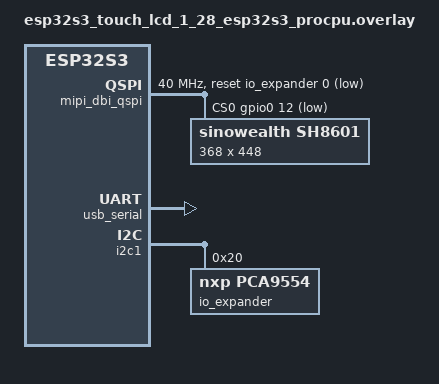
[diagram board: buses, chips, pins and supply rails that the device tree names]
/ {
	chosen {
		zephyr,console = &usb_serial;
		zephyr,shell-uart = &usb_serial;
		zephyr,display = &sh8601;
	};

	pwmleds {
		status = "disabled";
	};

	mipi_dbi {
		status = "disabled";
	};

	mipi_dbi_qspi: mipi-dbi-qspi@60024000 {
		compatible = "mipi-dbi-esp32-qspi";
		reg = <0x60024000 DT_SIZE_K(4)>;
		clocks = <&clock ESP32_SPI2_MODULE>;
		spi-host = <1>;
		sclk-pin = <11>;
		sio-pins = <4 5 6 7>;
		cs-gpios = <&gpio0 12 GPIO_ACTIVE_LOW>;
		reset-gpios = <&io_expander 0 GPIO_ACTIVE_LOW>;
		clock-frequency = <40000000>;
		dmas = <&dma 0>;
		dma-names = "tx";
		#address-cells = <1>;
		#size-cells = <0>;

		sh8601: sh8601@0 {
			compatible = "sinowealth,sh8601";
			reg = <0>;
			pixel-format = <PANEL_PIXEL_FORMAT_RGB_565>;
			width = <368>;
			height = <448>;
		};
	};
};

&usb_serial {
	status = "okay";
};

&ledc0 {
	status = "disabled";
};

&spi2 {
	status = "disabled";
};

&gc9a01 {
	status = "disabled";
};

&cst816s {
	status = "disabled";
};

&pinctrl {
	i2c1_amoled: i2c1_amoled {
		group1 {
			pinmux = <I2C1_SDA_GPIO15>, <I2C1_SCL_GPIO14>;
			bias-pull-up;
			drive-open-drain;
			output-high;
		};
	};
};

&i2c1 {
	pinctrl-0 = <&i2c1_amoled>;

	io_expander: tca9554@20 {
		compatible = "nxp,pca9554";
		reg = <0x20>;
		gpio-controller;
		#gpio-cells = <2>;
		ngpios = <8>;
		no-auto-reset;

		panel_power_hog {
			gpio-hog;
			gpios = <1 GPIO_ACTIVE_HIGH>, <2 GPIO_ACTIVE_HIGH>,
				<7 GPIO_ACTIVE_HIGH>;
			output-high;
		};
	};
};

&dma {
	status = "okay";
};
